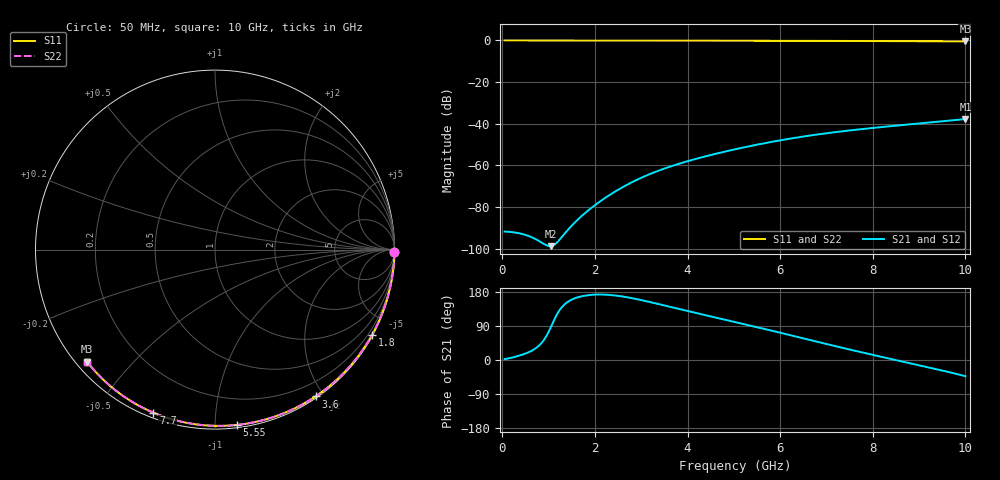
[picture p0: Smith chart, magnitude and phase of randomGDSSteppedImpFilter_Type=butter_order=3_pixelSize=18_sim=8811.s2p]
! freq	dB(S11)	phase(S11)	dB(S12)	phase(S12)
!  dB(S21)	phase(S21)	dB(S22)	phase(S22)
!S-par simulation data
#  GHz  S  DB  R 50
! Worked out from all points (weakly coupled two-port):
!   200 points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, 50 MHz to 10 GHz, reference 50 ohm
!   highest |S21| = -37.73 dB at 10 GHz (marker M1); lowest = -98.7 dB at 1.05 GHz (marker M2)
!   lowest |S11| = -0.5 dB at 10 GHz (marker M3), VSWR 37.04, Z = 1.54 - j18.8 ohm
!   |S11| at or under -10 dB: nowhere
!   |S22| runs from -0.5 to 0.0 dB; largest |S21 - S12| = 0
!   S11 on the Smith chart (normalised r, x): 50 MHz: open; 1.8 GHz: 0.03, -3.94; 3.6 GHz: 0.02, -1.90; 5.55 GHz: 0.02, -1.13; 7.7 GHz: 0.02, -0.69; 10 GHz: 0.03, -0.38
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0.05  -0.00 -0.8  -91.74 2.5  -91.74 2.5  -0.00 -0.8
0.55  -0.01 -8.8  -93.70 19.5  -93.70 19.5  -0.01 -8.8
1.05  -0.02 -16.7  -98.74 87.0  -98.74 87.0  -0.02 -16.7
1.75  -0.04 -27.7  -83.55 169.0  -83.55 169.0  -0.04 -27.7
1.8  -0.04 -28.5  -82.60 170.1  -82.60 170.1  -0.04 -28.5
1.95  -0.04 -30.8  -79.91 172.1  -79.91 172.1  -0.04 -30.8
2.25  -0.05 -35.4  -75.14 172.2  -75.14 172.2  -0.05 -35.4
2.45  -0.05 -38.4  -72.33 170.0  -72.33 170.0  -0.05 -38.4
2.65  -0.05 -41.5  -69.78 166.5  -69.78 166.5  -0.05 -41.5
3  -0.06 -46.7  -65.92 158.1  -65.92 158.1  -0.06 -46.7
3.4  -0.07 -52.7  -62.29 146.8  -62.29 146.8  -0.07 -52.7
3.6  -0.07 -55.6  -60.72 141.0  -60.72 141.0  -0.07 -55.6
3.9  -0.08 -59.9  -58.61 132.2  -58.61 132.2  -0.08 -59.9
4.25  -0.09 -65.0  -56.42 122.2  -56.42 122.2  -0.09 -65.0
5.05  -0.12 -76.1  -52.12 99.6  -52.12 99.6  -0.12 -76.1
5.55  -0.14 -82.9  -49.80 85.2  -49.80 85.2  -0.14 -82.9
6.1  -0.16 -90.3  -47.55 69.0  -47.55 69.0  -0.16 -90.3
6.7  -0.19 -98.1  -45.46 51.1  -45.46 51.1  -0.19 -98.1
7.7  -0.25 -110.7  -42.70 21.9  -42.70 21.9  -0.25 -110.7
8.35  -0.30 -118.7  -41.22 3.9  -41.22 3.9  -0.30 -118.7
9.2  -0.38 -129.1  -39.40 -19.2  -39.40 -19.2  -0.38 -129.1
10  -0.47 -138.8  -37.73 -42.7  -37.73 -42.7  -0.47 -138.8
